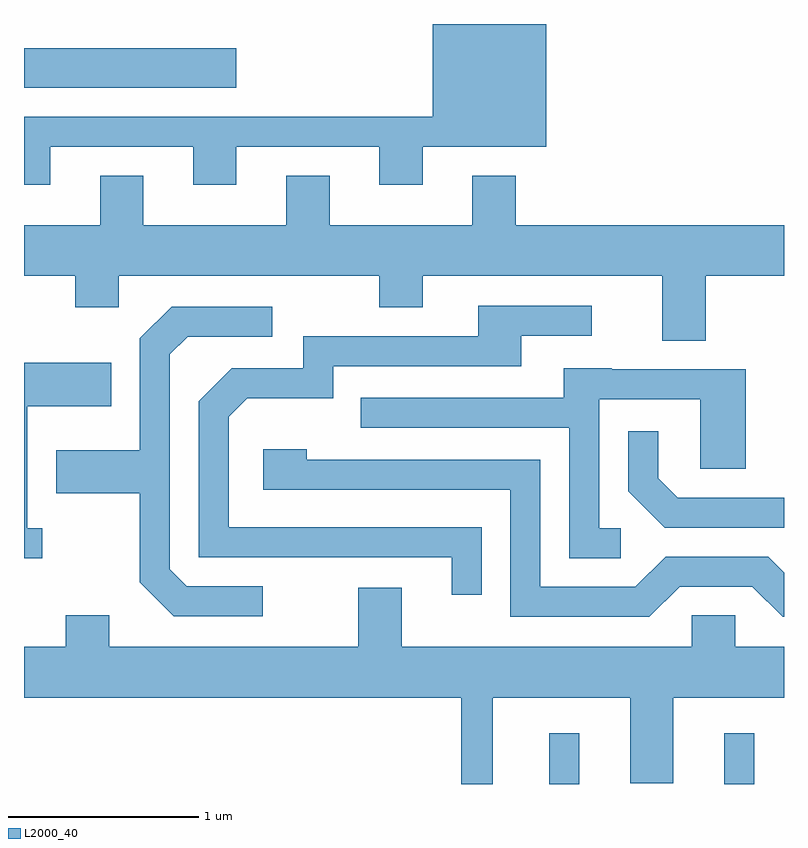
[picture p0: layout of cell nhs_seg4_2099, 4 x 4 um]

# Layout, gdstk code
import gdstk
lib = gdstk.Library(unit=1e-6, precision=1e-09)
def R(c, l, rs):  # rectangles x0, y0, x1, y1
    for r in rs: c.add(gdstk.rectangle(r[:2], r[2:], *l))
def P(c, l, *ps):  # polygons
    for p in ps: c.add(gdstk.Polygon(p, *l))
L2000_40 = (2000, 40)

nhs_seg4_2099 = lib.new_cell('nhs_seg4_2099')
R(nhs_seg4_2099, L2000_40, [(248.376,1371.982,248.534,1372.248), (249.296,1371.982,249.454,1372.248), (245.611,1375.646,246.729,1375.854)])
P(nhs_seg4_2099, L2000_40, [(245.749,1375.336),(246.501,1375.336),(246.501,1375.136),(246.729,1375.136),(246.729,1375.336),(247.481,1375.336),(247.481,1375.136),(247.709,1375.136),(247.709,1375.336),(248.359,1375.336),(248.359,1375.982),(247.761,1375.982),(247.761,1375.494),(245.611,1375.494),(245.611,1375.136),(245.749,1375.136)],
  [(246.011,1374.924),(245.611,1374.924),(245.611,1374.656),(245.881,1374.656),(245.881,1374.491),(246.109,1374.491),(246.109,1374.656),(247.481,1374.656),(247.481,1374.491),(247.709,1374.491),(247.709,1374.656),(248.971,1374.656),(248.971,1374.316),(249.199,1374.316),(249.199,1374.656),(249.611,1374.656),(249.611,1374.924),(248.199,1374.924),(248.199,1375.184),(247.971,1375.184),(247.971,1374.924),(247.219,1374.924),(247.219,1375.184),(246.991,1375.184),(246.991,1374.924),(246.239,1374.924),(246.239,1375.184),(246.011,1375.184)],
  [(248.019,1373.334),(246.689,1373.334),(246.689,1373.914),(246.787,1374.011),(247.239,1374.011),(247.239,1374.181),(248.229,1374.181),(248.229,1374.341),(248.598,1374.341),(248.598,1374.499),(248.001,1374.499),(248.001,1374.339),(247.081,1374.339),(247.081,1374.169),(246.704,1374.169),(246.531,1373.997),(246.531,1373.176),(247.861,1373.176),(247.861,1372.978),(248.019,1372.978)],
  [(246.868,1373.024),(246.467,1373.024),(246.379,1373.112),(246.379,1374.244),(246.472,1374.336),(246.918,1374.336),(246.918,1374.494),(246.389,1374.494),(246.221,1374.327),(246.221,1373.739),(245.781,1373.739),(245.781,1373.511),(246.221,1373.511),(246.221,1373.044),(246.399,1372.866),(246.868,1372.866)],
  [(245.708,1373.329),(245.629,1373.329),(245.629,1373.971),(246.069,1373.971),(246.069,1374.199),(245.611,1374.199),(245.611,1373.171),(245.708,1373.171)],
  [(248.753,1373.329),(248.639,1373.329),(248.639,1374.006),(249.171,1374.006),(249.171,1373.641),(249.409,1373.641),(249.409,1374.164),(248.705,1374.164),(248.705,1374.169),(248.451,1374.169),(248.451,1374.014),(247.383,1374.014),(247.383,1373.856),(248.481,1373.856),(248.481,1373.171),(248.753,1373.171)],
  [(249.611,1373.489),(249.052,1373.489),(248.949,1373.592),(248.949,1373.838),(248.791,1373.838),(248.791,1373.524),(248.984,1373.331),(249.611,1373.331)],
  [(249.062,1373.021),(249.444,1373.021),(249.604,1372.861),(249.611,1372.861),(249.611,1373.095),(249.527,1373.179),(248.989,1373.179),(248.829,1373.019),(248.329,1373.019),(248.329,1373.689),(247.099,1373.689),(247.099,1373.744),(246.871,1373.744),(246.871,1373.531),(248.171,1373.531),(248.171,1372.861),(248.902,1372.861)],
  [(248.079,1372.436),(248.801,1372.436),(248.801,1371.986),(249.029,1371.986),(249.029,1372.436),(249.611,1372.436),(249.611,1372.704),(249.354,1372.704),(249.354,1372.869),(249.126,1372.869),(249.126,1372.704),(247.599,1372.704),(247.599,1373.014),(247.371,1373.014),(247.371,1372.704),(246.059,1372.704),(246.059,1372.869),(245.831,1372.869),(245.831,1372.704),(245.611,1372.704),(245.611,1372.436),(247.911,1372.436),(247.911,1371.982),(248.079,1371.982)])

lib.write_gds('nhs_seg4_2099.gds')
